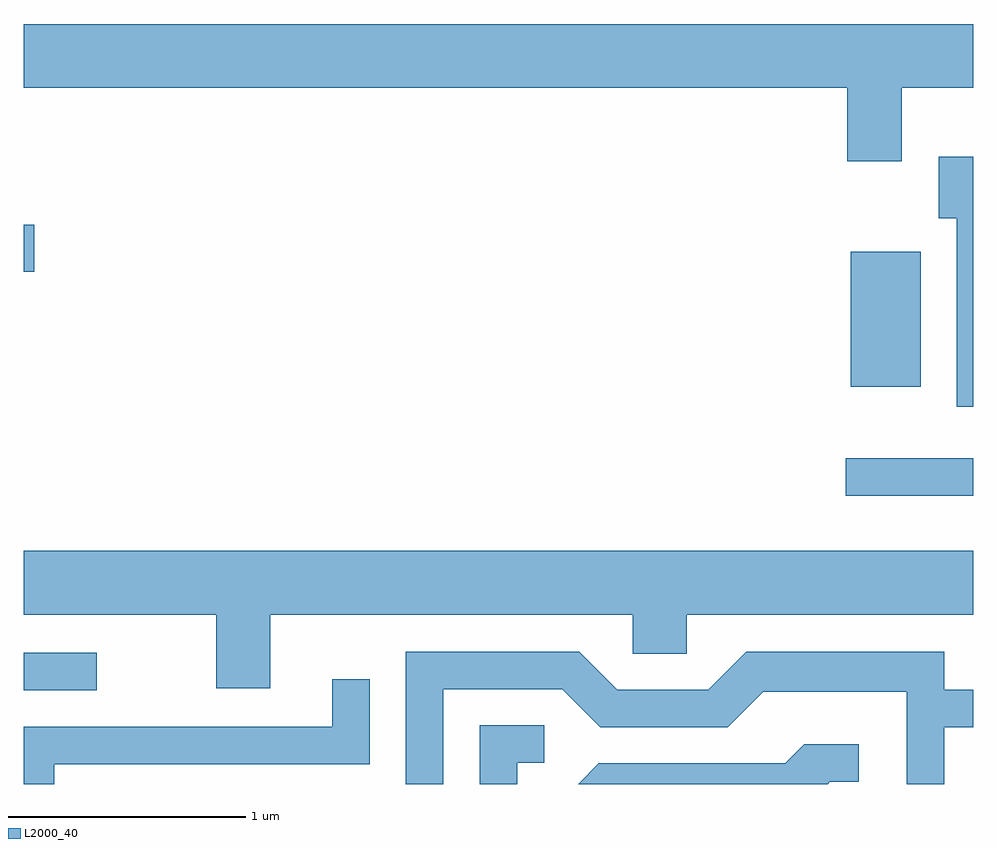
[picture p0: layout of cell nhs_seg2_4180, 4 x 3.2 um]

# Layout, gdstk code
import gdstk
lib = gdstk.Library(unit=1e-6, precision=1e-09)
def R(c, l, rs):  # rectangles x0, y0, x1, y1
    for r in rs: c.add(gdstk.rectangle(r[:2], r[2:], *l))
def P(c, l, *ps):  # polygons
    for p in ps: c.add(gdstk.Polygon(p, *l))
L2000_40 = (2000, 40)

nhs_seg2_4180 = lib.new_cell('nhs_seg2_4180')
R(nhs_seg2_4180, L2000_40, [(307.611,1070.196,307.918,1070.354), (311.073,1071.016,311.611,1071.174), (311.096,1071.476,311.389,1072.044), (307.611,1071.961,307.654,1072.159)])
P(nhs_seg2_4180, L2000_40, [(311.309,1072.736),(311.611,1072.736),(311.611,1073.004),(307.611,1073.004),(307.611,1072.736),(311.081,1072.736),(311.081,1072.426),(311.309,1072.426)],
  [(311.611,1072.444),(311.466,1072.444),(311.466,1072.186),(311.541,1072.186),(311.541,1071.391),(311.611,1071.391)],
  [(308.649,1070.516),(310.176,1070.516),(310.176,1070.351),(310.404,1070.351),(310.404,1070.516),(311.611,1070.516),(311.611,1070.784),(307.611,1070.784),(307.611,1070.516),(308.421,1070.516),(308.421,1070.206),(308.649,1070.206)],
  [(309.379,1070.201),(309.879,1070.201),(310.039,1070.041),(310.577,1070.041),(310.727,1070.191),(311.331,1070.191),(311.331,1069.802),(311.489,1069.802),(311.489,1070.041),(311.611,1070.041),(311.611,1070.199),(311.489,1070.199),(311.489,1070.359),(310.654,1070.359),(310.494,1070.199),(310.112,1070.199),(309.952,1070.359),(309.221,1070.359),(309.221,1069.802),(309.379,1069.802)],
  [(307.739,1069.886),(309.069,1069.886),(309.069,1070.243),(308.911,1070.243),(308.911,1070.044),(307.611,1070.044),(307.611,1069.802),(307.739,1069.802)],
  [(309.689,1069.891),(309.803,1069.891),(309.803,1070.049),(309.531,1070.049),(309.531,1069.802),(309.689,1069.802)],
  [(311.007,1069.811),(311.128,1069.811),(311.128,1069.969),(310.899,1069.969),(310.819,1069.889),(310.034,1069.889),(309.947,1069.802),(310.998,1069.802)])

lib.write_gds('nhs_seg2_4180.gds')
